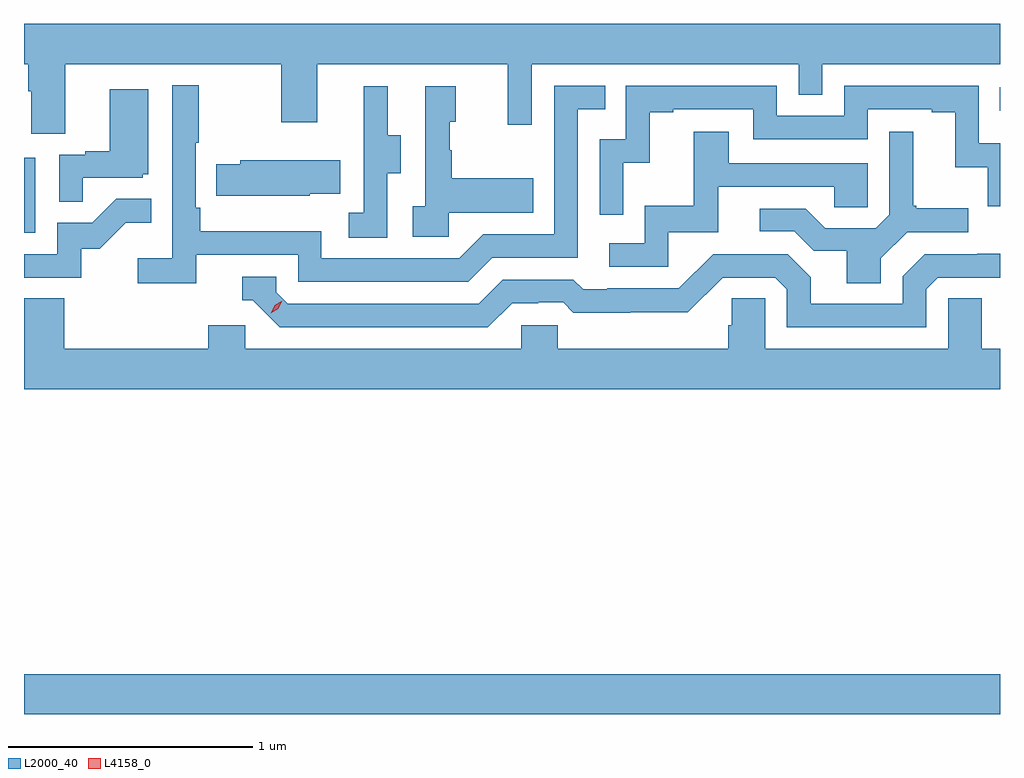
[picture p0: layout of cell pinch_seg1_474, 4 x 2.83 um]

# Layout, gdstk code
import gdstk
lib = gdstk.Library(unit=1e-6, precision=1e-09)
def R(c, l, rs):  # rectangles x0, y0, x1, y1
    for r in rs: c.add(gdstk.rectangle(r[:2], r[2:], *l))
def P(c, l, *ps):  # polygons
    for p in ps: c.add(gdstk.Polygon(p, *l))
L2000_40 = (2000, 40)
L4158_0 = (4158, 0)

pinch_seg1_474 = lib.new_cell('pinch_seg1_474')
R(pinch_seg1_474, L2000_40, [(1089.401,531.752,1093.401,531.916), (1089.401,533.724,1089.448,534.031), (1093.399,534.224,1093.401,534.321)])
P(pinch_seg1_474, L2000_40, [(1089.571,534.416),(1090.456,534.416),(1090.456,534.177),(1090.603,534.177),(1090.603,534.416),(1091.384,534.416),(1091.384,534.168),(1091.481,534.168),(1091.481,534.416),(1092.576,534.416),(1092.576,534.289),(1092.672,534.289),(1092.672,534.416),(1093.401,534.416),(1093.401,534.58),(1089.401,534.58),(1089.401,534.416),(1089.419,534.416),(1089.419,534.304),(1089.431,534.304),(1089.431,534.13),(1089.571,534.13)],
  [(1090.106,533.634),(1090.524,533.634),(1090.524,533.523),(1091.221,533.523),(1091.32,533.622),(1091.67,533.622),(1091.67,534.231),(1091.783,534.231),(1091.783,534.327),(1091.574,534.327),(1091.574,533.718),(1091.283,533.718),(1091.184,533.619),(1090.62,533.619),(1090.62,533.731),(1090.124,533.731),(1090.124,533.827),(1090.104,533.827),(1090.104,534.094),(1090.117,534.094),(1090.117,534.328),(1090.008,534.328),(1090.008,533.62),(1089.867,533.62),(1089.867,533.518),(1090.106,533.518)],
  [(1091.856,534.011),(1091.966,534.011),(1091.966,534.219),(1092.061,534.219),(1092.061,534.231),(1092.39,534.231),(1092.39,534.108),(1092.858,534.108),(1092.858,534.231),(1093.121,534.231),(1093.121,534.219),(1093.217,534.219),(1093.217,533.993),(1093.35,533.993),(1093.35,533.832),(1093.401,533.832),(1093.401,534.091),(1093.314,534.091),(1093.314,534.327),(1092.762,534.327),(1092.762,534.204),(1092.486,534.204),(1092.486,534.327),(1091.868,534.327),(1091.868,534.108),(1091.76,534.108),(1091.76,533.799),(1091.856,533.799)],
  [(1090.89,533.968),(1090.945,533.968),(1090.945,534.123),(1090.891,534.123),(1090.891,534.325),(1090.793,534.325),(1090.793,534.111),(1090.794,534.111),(1090.794,533.807),(1090.731,533.807),(1090.731,533.704),(1090.89,533.704)],
  [(1091.142,533.807),(1091.489,533.807),(1091.489,533.947),(1091.155,533.947),(1091.155,534.062),(1091.145,534.062),(1091.145,534.18),(1091.17,534.18),(1091.17,534.325),(1091.046,534.325),(1091.046,533.834),(1090.995,533.834),(1090.995,533.709),(1091.142,533.709)],
  [(1089.641,533.949),(1089.888,533.949),(1089.888,533.964),(1089.91,533.964),(1089.91,534.313),(1089.752,534.313),(1089.752,534.058),(1089.653,534.058),(1089.653,534.045),(1089.546,534.045),(1089.546,533.851),(1089.641,533.851)],
  [(1092.913,533.62),(1093.02,533.727),(1093.27,533.727),(1093.27,533.824),(1093.057,533.824),(1093.057,533.836),(1093.045,533.836),(1093.045,534.139),(1092.948,534.139),(1092.948,533.799),(1092.891,533.742),(1092.685,533.742),(1092.604,533.823),(1092.417,533.823),(1092.417,533.73),(1092.558,533.73),(1092.638,533.65),(1092.773,533.65),(1092.773,533.518),(1092.913,533.518)],
  [(1092.042,533.727),(1092.247,533.727),(1092.247,533.913),(1092.721,533.913),(1092.721,533.829),(1092.858,533.829),(1092.858,534.009),(1092.289,534.009),(1092.289,534.139),(1092.145,534.139),(1092.145,533.836),(1091.946,533.836),(1091.946,533.682),(1091.799,533.682),(1091.799,533.586),(1092.042,533.586)],
  [(1090.572,533.885),(1090.697,533.885),(1090.697,534.022),(1090.287,534.022),(1090.287,534.006),(1090.189,534.006),(1090.189,533.876),(1090.572,533.876)],
  [(1089.636,533.658),(1089.712,533.658),(1089.819,533.765),(1089.923,533.765),(1089.923,533.864),(1089.779,533.864),(1089.681,533.766),(1089.537,533.766),(1089.537,533.637),(1089.401,533.637),(1089.401,533.541),(1089.636,533.541)],
  [(1091.401,533.436),(1091.508,533.436),(1091.508,533.439),(1091.611,533.439),(1091.653,533.397),(1091.886,533.397),(1091.886,533.399),(1092.122,533.399),(1092.264,533.541),(1092.48,533.541),(1092.528,533.493),(1092.528,533.337),(1093.098,533.337),(1093.098,533.493),(1093.146,533.541),(1093.401,533.541),(1093.401,533.639),(1093.308,533.639),(1093.308,533.637),(1093.092,533.637),(1093.002,533.547),(1093.002,533.433),(1092.625,533.433),(1092.625,533.543),(1092.531,533.637),(1092.225,533.637),(1092.084,533.496),(1091.791,533.496),(1091.791,533.493),(1091.692,533.493),(1091.653,533.532),(1091.364,533.532),(1091.265,533.433),(1090.482,533.433),(1090.434,533.481),(1090.434,533.544),(1090.295,533.544),(1090.295,533.448),(1090.338,533.448),(1090.449,533.337),(1091.302,533.337)],
  [(1093.401,533.248),(1093.327,533.248),(1093.327,533.456),(1093.188,533.456),(1093.188,533.248),(1092.438,533.248),(1092.438,533.456),(1092.301,533.456),(1092.301,533.346),(1092.287,533.346),(1092.287,533.248),(1091.589,533.248),(1091.589,533.346),(1091.439,533.346),(1091.439,533.248),(1090.308,533.248),(1090.308,533.346),(1090.157,533.346),(1090.157,533.248),(1089.566,533.248),(1089.566,533.456),(1089.401,533.456),(1089.401,533.084),(1093.401,533.084)])
P(pinch_seg1_474, L4158_0, [(1090.412,533.394),(1090.412,533.394),(1090.428,533.427),(1090.459,533.446),(1090.459,533.446),(1090.459,533.445),(1090.443,533.413),(1090.412,533.394)])

lib.write_gds('pinch_seg1_474.gds')
